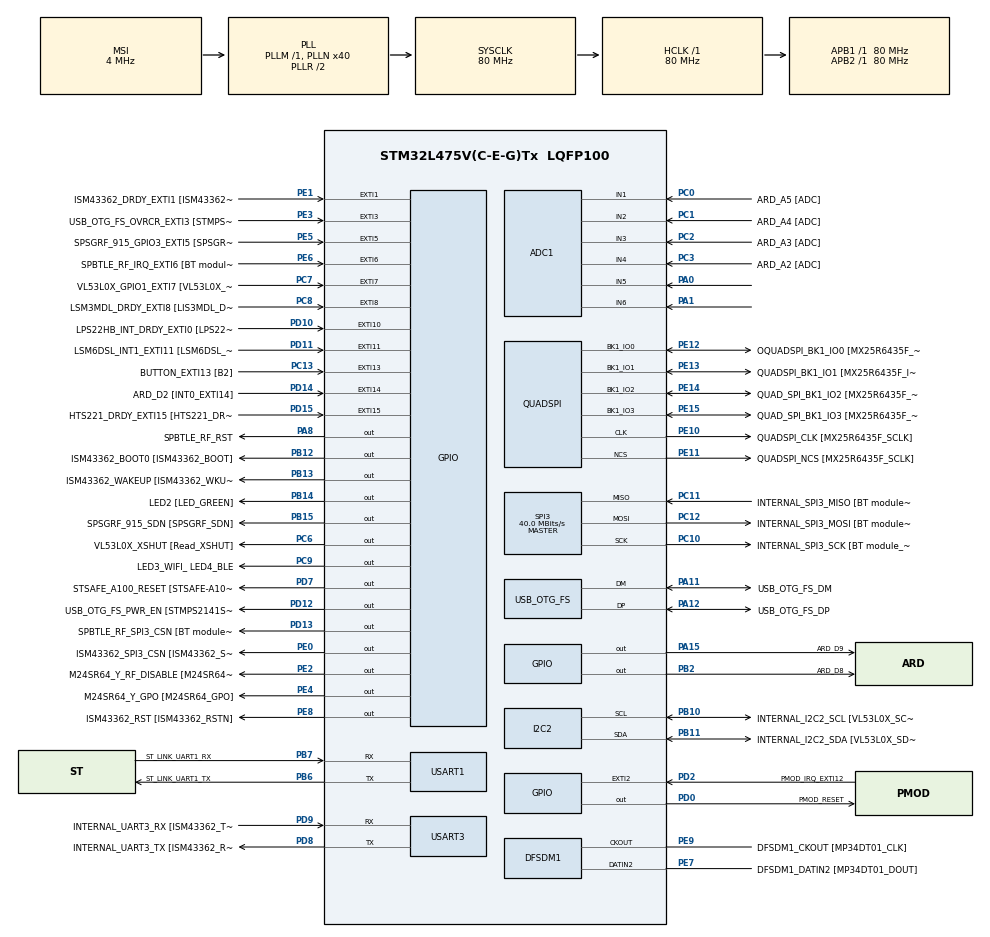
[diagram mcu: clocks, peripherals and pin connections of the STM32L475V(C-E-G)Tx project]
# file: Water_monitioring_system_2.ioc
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ADC1.Channel-0\#ChannelRegularConversion=ADC_CHANNEL_1
ADC1.NbrOfConversionFlag=1
ADC1.OffsetNumber-0\#ChannelRegularConversion=ADC_OFFSET_NONE
ADC1.Rank-0\#ChannelRegularConversion=1
ADC1.SamplingTime-0\#ChannelRegularConversion=ADC_SAMPLETIME_2CYCLES_5
ADC1.SingleDiff-0\#ChannelRegularConversion=ADC_DIFFERENTIAL_ENDED
ADC1.master=1
Dma.Request0=USART1_RX
Dma.Request1=USART1_TX
Dma.USART1_RX.0.Direction=DMA_PERIPH_TO_MEMORY
Dma.USART1_RX.0.Instance=DMA1_Channel5
Dma.USART1_RX.0.MemDataAlignment=DMA_MDATAALIGN_BYTE
Dma.USART1_RX.0.MemInc=DMA_MINC_ENABLE
Dma.USART1_RX.0.Mode=DMA_NORMAL
Dma.USART1_RX.0.PeriphDataAlignment=DMA_PDATAALIGN_BYTE
Dma.USART1_RX.0.PeriphInc=DMA_PINC_DISABLE
Dma.USART1_RX.0.Priority=DMA_PRIORITY_LOW
Dma.USART1_TX.1.Direction=DMA_MEMORY_TO_PERIPH
Dma.USART1_TX.1.Instance=DMA1_Channel4
Dma.USART1_TX.1.MemDataAlignment=DMA_MDATAALIGN_BYTE
Dma.USART1_TX.1.MemInc=DMA_MINC_ENABLE
Dma.USART1_TX.1.Mode=DMA_NORMAL
Dma.USART1_TX.1.PeriphDataAlignment=DMA_PDATAALIGN_BYTE
Dma.USART1_TX.1.PeriphInc=DMA_PINC_DISABLE
Dma.USART1_TX.1.Priority=DMA_PRIORITY_LOW
I2C2.Timing=0x10909CEC
Mcu.Family=STM32L4
Mcu.Name=STM32L475V(C-E-G)Tx
Mcu.Package=LQFP100
NVIC.DMA1_Channel4_IRQn=true\:0\:0\:false\:false\:true\:false\:true\:true
NVIC.DMA1_Channel5_IRQn=true\:0\:0\:false\:false\:true\:false\:true\:true
NVIC.EXTI15_10_IRQn=true\:0\:0\:false\:false\:true\:true\:true\:true
NVIC.EXTI9_5_IRQn=true\:0\:0\:false\:false\:true\:true\:true\:true
NVIC.PriorityGroup=NVIC_PRIORITYGROUP_4
NVIC.USART1_IRQn=true\:0\:0\:false\:false\:true\:true\:true\:true
PA0.Signal=ADCx_IN5
PA1.Signal=ADCx_IN6
PA10.GPIO_Label=USB_OTG_FS_ID
PA10.Signal=USB_OTG_FS_ID
PA11.GPIO_Label=USB_OTG_FS_DM
PA11.Mode=Device_Only
PA11.Signal=USB_OTG_FS_DM
PA12.GPIO_Label=USB_OTG_FS_DP
PA12.Mode=Device_Only
PA12.Signal=USB_OTG_FS_DP
PA13\ (JTMS-SWDIO).GPIO_Label=SYS_JTMS_SWDIO
PA13\ (JTMS-SWDIO).Mode=Serial_Wire
PA13\ (JTMS-SWDIO).Signal=SYS_JTMS-SWDIO
PA14\ (JTCK-SWCLK).GPIO_Label=SYS_JTCK_SWCLK
PA14\ (JTCK-SWCLK).Mode=Serial_Wire
PA14\ (JTCK-SWCLK).Signal=SYS_JTCK-SWCLK
PA15\ (JTDI).GPIO_Label=ARD_D9
PA15\ (JTDI).Signal=GPIO_Output
PA4.GPIO_Label=ARD_D7
PA4.Signal=ADCx_IN9
PA8.GPIO_Label=SPBTLE_RF_RST
PA8.Signal=GPIO_Output
PA9.GPIO_Label=USB_OTG_FS_VBUS [STMPS2141STR_OUT]
PA9.Signal=USB_OTG_FS_VBUS
PB1.GPIO_Label=ARD_D6 [ADC1_IN6]
PB1.Signal=ADCx_IN16
PB10.GPIO_Label=INTERNAL_I2C2_SCL [VL53L0X_SCL]
PB10.GPIO_Pu=GPIO_PULLUP
PB10.Mode=I2C
PB10.Signal=I2C2_SCL
PB11.GPIO_Label=INTERNAL_I2C2_SDA [VL53L0X_SDA]
PB11.GPIO_Pu=GPIO_PULLUP
PB11.Mode=I2C
PB11.Signal=I2C2_SDA
PB12.GPIO_Label=ISM43362_BOOT0 [ISM43362_BOOT]
PB12.Signal=GPIO_Output
PB13.GPIO_Label=ISM43362_WAKEUP [ISM43362_WKUP]
PB13.Signal=GPIO_Output
PB14.GPIO_Label=LED2 [LED_GREEN]
PB14.Signal=GPIO_Output
PB15.GPIO_Label=SPSGRF_915_SDN [SPSGRF_SDN]
PB15.Signal=GPIO_Output
PB2.GPIO_Label=ARD_D8
PB2.Signal=GPIO_Output
PB6.GPIO_Label=ST_LINK_UART1_TX
PB6.Mode=Asynchronous
PB6.Signal=USART1_TX
PB7.GPIO_Label=ST_LINK_UART1_RX
PB7.Mode=Asynchronous
PB7.Signal=USART1_RX
PB8.GPIO_Label=ARD_D15 [I2C1_SCL]
PB8.Signal=I2C1_SCL
PB9.GPIO_Label=ARD_D14 [I2C1_SDA]
PB9.Signal=I2C1_SDA
PC0.GPIO_Label=ARD_A5 [ADC]
PC0.Signal=ADCx_IN1
PC1.GPIO_Label=ARD_A4 [ADC]
PC1.Signal=ADCx_IN2
PC10.GPIO_Label=INTERNAL_SPI3_SCK [BT module_SPI_SCLK] [ISM43362_SCK]
PC10.Mode=Full_Duplex_Master
PC10.Signal=SPI3_SCK
PC11.GPIO_Label=INTERNAL_SPI3_MISO [BT module_SPI_MISO] [ISM43362_MISO]
PC11.Mode=Full_Duplex_Master
PC11.Signal=SPI3_MISO
PC12.GPIO_Label=INTERNAL_SPI3_MOSI [BT module_SPI_MOSI] [ISM43362_MOSI]
PC12.Mode=Full_Duplex_Master
PC12.Signal=SPI3_MOSI
PC13.GPIO_Label=BUTTON_EXTI13 [B2]
PC13.GPIO_ModeDefaultEXTI=GPIO_MODE_IT_FALLING
PC13.Signal=GPXTI13
PC14-OSC32_IN\ (PC14).Mode=LSE-External-Oscillator
PC14-OSC32_IN\ (PC14).Signal=RCC_OSC32_IN
PC15-OSC32_OUT\ (PC15).Mode=LSE-External-Oscillator
PC15-OSC32_OUT\ (PC15).Signal=RCC_OSC32_OUT
PC2.GPIO_Label=ARD_A3 [ADC]
PC2.Signal=ADCx_IN3
PC3.GPIO_Label=ARD_A2 [ADC]
PC3.Signal=ADCx_IN4
PC4.GPIO_Label=ARD_A1 [ADC]
PC4.Signal=ADCx_IN13
PC5.GPIO_Label=ARD_A0 [ADC]
PC5.Signal=ADCx_IN14
PC6.GPIO_Label=VL53L0X_XSHUT [Read_XSHUT]
PC6.Signal=GPIO_Output
PC7.GPIO_Label=VL53L0X_GPIO1_EXTI7 [VL53L0X_GPIO1]
PC7.Signal=GPXTI7
PC8.GPIO_Label=LSM3MDL_DRDY_EXTI8 [LIS3MDL_DRDY]
PC8.Signal=GPXTI8
PC9.GPIO_Label=LED3_WIFI_ LED4_BLE
PC9.Signal=GPIO_Output
PD0.GPIO_Label=PMOD_RESET
PD0.Signal=GPIO_Output
PD1.GPIO_Label=PMOD_SPI2_SCK
PD1.Signal=SPI2_SCK
PD10.GPIO_Label=LPS22HB_INT_DRDY_EXTI0 [LPS22HB_INT_DRDY] 
PD10.Signal=GPXTI10
PD11.GPIO_Label=LSM6DSL_INT1_EXTI11 [LSM6DSL_INT1]
PD11.Signal=GPXTI11
PD12.GPIO_Label=USB_OTG_FS_PWR_EN [STMPS2141STR_EN]
PD12.Signal=GPIO_Output
PD13.GPIO_Label=SPBTLE_RF_SPI3_CSN [BT module_SPI_CS]
PD13.PinState=GPIO_PIN_SET
PD13.Signal=GPIO_Output
PD14.GPIO_Label=ARD_D2 [INT0_EXTI14]
PD14.Signal=GPXTI14
PD15.GPIO_Label=HTS221_DRDY_EXTI15 [HTS221_DRDY]
PD15.Signal=GPXTI15
PD2.GPIO_Label=PMOD_IRQ_EXTI12
PD2.Signal=GPXTI2
PD3.GPIO_Label=PMOD_UART2_CTS
PD3.Signal=USART2_CTS
PD4.GPIO_Label=PMOD_UART2_RTS
PD4.Signal=USART2_RTS
PD5.GPIO_Label=PMOD_UART2_TX
PD5.Signal=USART2_TX
PD6.GPIO_Label=PMOD_UART2_RX
PD6.Signal=USART2_RX
PD7.GPIO_Label=STSAFE_A100_RESET [STSAFE-A100_RESET]
PD7.Signal=GPIO_Output
PD8.GPIO_Label=INTERNAL_UART3_TX [ISM43362_RX]
PD8.Mode=Asynchronous
PD8.Signal=USART3_TX
PD9.GPIO_Label=INTERNAL_UART3_RX [ISM43362_TX]
PD9.Mode=Asynchronous
PD9.Signal=USART3_RX
PE0.GPIO_Label=ISM43362_SPI3_CSN [ISM43362_SSN]
PE0.PinState=GPIO_PIN_SET
PE0.Signal=GPIO_Output
PE1.GPIO_Label=ISM43362_DRDY_EXTI1 [ISM43362_DATARDY]
PE1.Signal=GPXTI1
PE10.GPIO_Label=QUADSPI_CLK [MX25R6435F_SCLK]
PE10.Mode=Single Bank
PE10.Signal=QUADSPI_CLK
PE11.GPIO_Label=QUADSPI_NCS [MX25R6435F_SCLK]
PE11.Mode=Single Bank
PE11.Signal=QUADSPI_NCS
PE12.GPIO_Label=OQUADSPI_BK1_IO0 [MX25R6435F_IO0]
PE12.Mode=Single Bank
PE12.Signal=QUADSPI_BK1_IO0
PE13.GPIO_Label=QUADSPI_BK1_IO1 [MX25R6435F_IO1]
PE13.Mode=Single Bank
PE13.Signal=QUADSPI_BK1_IO1
PE14.GPIO_Label=QUAD_SPI_BK1_IO2 [MX25R6435F_IO2]
PE14.Mode=Single Bank
PE14.Signal=QUADSPI_BK1_IO2
PE15.GPIO_Label=QUAD_SPI_BK1_IO3 [MX25R6435F_IO3]
PE15.Mode=Single Bank
PE15.Signal=QUADSPI_BK1_IO3
PE2.GPIO_Label=M24SR64_Y_RF_DISABLE [M24SR64_RFDIS]
PE2.Signal=GPIO_Output
PE3.GPIO_Label=USB_OTG_FS_OVRCR_EXTI3 [STMPS2141STR_FAULT]
PE3.Signal=GPXTI3
PE4.GPIO_Label=M24SR64_Y_GPO [M24SR64_GPO]
PE4.Signal=GPIO_Output
PE5.GPIO_Label=SPSGRF_915_GPIO3_EXTI5 [SPSGRF_GPIO_3]
PE5.Signal=GPXTI5
PE6.GPIO_Label=SPBTLE_RF_IRQ_EXTI6 [BT module_SPI_IRQ]
PE6.Signal=GPXTI6
PE7.GPIO_Label=DFSDM1_DATIN2 [MP34DT01_DOUT]
PE7.Signal=S_DATAIN2DFSDM1
PE8.GPIO_Label=ISM43362_RST [ISM43362_RSTN]
PE8.Signal=GPIO_Output
PE9.GPIO_Label=DFSDM1_CKOUT [MP34DT01_CLK]
PE9.Signal=S_CKOUTDFSDM1
ProjectManager.HeapSize=0x200
ProjectManager.StackSize=0x400
ProjectManager.TargetToolchain=STM32CubeIDE
QUADSPI.ClockPrescaler=2
QUADSPI.FifoThreshold=4
QUADSPI.FlashSize=23
QUADSPI.SampleShifting=QSPI_SAMPLE_SHIFTING_HALFCYCLE
RCC.ADCFreq_Value=48000000
RCC.AHBFreq_Value=80000000
RCC.APB1Freq_Value=80000000
RCC.APB1TimFreq_Value=80000000
RCC.APB2Freq_Value=80000000
RCC.APB2TimFreq_Value=80000000
RCC.CortexFreq_Value=80000000
RCC.HCLKFreq_Value=80000000
RCC.HSE_VALUE=8000000
RCC.HSI_VALUE=16000000
RCC.MSI_VALUE=4000000
RCC.PLLN=40
RCC.PLLSAI1N=24
RCC.SYSCLKFreq_VALUE=80000000
RCC.SYSCLKSource=RCC_SYSCLKSOURCE_PLLCLK
RCC.USBFreq_Value=48000000
RCC.VCOOutputFreq_Value=160000000
SH.ADCx_IN1.0=ADC1_IN1,IN1-Differential
SH.ADCx_IN13.0=ADC1_IN13
SH.ADCx_IN14.0=ADC1_IN14
SH.ADCx_IN16.0=ADC1_IN16
SH.ADCx_IN2.0=ADC1_IN2,IN1-Differential
SH.ADCx_IN3.0=ADC1_IN3,IN3-Differential
SH.ADCx_IN4.0=ADC1_IN4,IN3-Differential
SH.ADCx_IN5.0=ADC1_IN5,IN5-Differential
SH.ADCx_IN6.0=ADC1_IN6,IN5-Differential
SH.ADCx_IN9.0=ADC1_IN9
SH.S_CKOUTDFSDM1.0=DFSDM1_CKOUT,CKOUT
SH.S_CKOUTDFSDM1.1=DFSDM1_CKOUT,PDM_SPI_Input_from_ch12_and_Internal_Clock
SH.S_DATAIN2DFSDM1.0=DFSDM1_DATIN2,PDM_SPI_Input_from_ch12_and_Internal_Clock
SPI3.CalculateBaudRate=40.0 MBits/s
SPI3.Direction=SPI_DIRECTION_2LINES
SPI3.Mode=SPI_MODE_MASTER
SPI3.VirtualType=VM_MASTER
USART1.VirtualMode-Asynchronous=VM_ASYNC
USART3.VirtualMode-Asynchronous=VM_ASYNC
USB_OTG_FS.VirtualMode=Device_Only
board=B-L475E-IOT01A1

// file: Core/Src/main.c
/* USER CODE BEGIN Header */
/**
 * @Author: Tra Luong
 * Dự án: Hệ thống giám sát chất lượng nước đầu ra sau xử lý của nhà máy nước thải
 * -- 1. Chỉ tiêu cần quan sát: pH, COD, Amoni, Nhiệt độ
 * -- 2. Cảm biến
 * 			+ Cảm biến ADC 4-20 mA: pH, Nhiệt độ
 * 			+ Cảm biến số tích hợp giao thức Modbus RTU: COD, Amoni
 * -- 3. Phần mềm cấp giám sát: Thingspeak
 *
 *
 *
 */

/* USER CODE END Header */
#include "main.h"
#include "modbus.h"
#include "modbus-rtu.h"
#include "modbus-rtu.c"
#include "wifi.c"
#include "es_wifi.h"
#include <math.h>

/* USER CODE BEGIN PTD */

#define RS485_UART_HANDLE huart1

/* USER CODE END PTD */

/* USER CODE BEGIN PD */

#define MODBUS_SLAVE1_ADDRESS 1  // Slave 1 là cảm biến đo COD
#define MODBUS_SLAVE2_ADDRESS 2  // Slave 2 là cảm biến đo Amoni
#define MODBUS_NUM_REGISTERS 2
#define SSID     "TraTo"
#define PASSWORD "00000000"
#define PORT           80
#define THINGSPEAK_API_KEY "UN8T58F3USEKWK8E"
#define SampleTime	300000 //Sample time giả sử là 5 phút.
/* USER CODE END PD */

ADC_HandleTypeDef hadc1;  //ADC1 Channel 1 cho cảm biến pH
ADC_HandleTypeDef hadc2;  //ADC1 Channel 2 cho cảm biến nhiệt độ

DFSDM_Channel_HandleTypeDef hdfsdm1_channel1;

I2C_HandleTypeDef hi2c2;

QSPI_HandleTypeDef hqspi;

SPI_HandleTypeDef hspi3;

UART_HandleTypeDef huart1;
UART_HandleTypeDef huart3;
DMA_HandleTypeDef hdma_usart1_rx;
DMA_HandleTypeDef hdma_usart1_tx;

PCD_HandleTypeDef hpcd_USB_OTG_FS;

/* USER CODE BEGIN PV */

uint16_t modbusData1[MODBUS_NUM_REGISTERS];
uint16_t modbusData2[MODBUS_NUM_REGISTERS];

int pH_ADC_Val;
int temp_ADC_Val;

float pH_Current_Val;
float temp_Voltage_Val;
float temp_Res_Val;
float pH;
float temp;

float data[4];

/* USER CODE END PV */

void SystemClock_Config(void);
void PeriphCommonClock_Config(void);
static void MX_GPIO_Init(void);
static void MX_DMA_Init(void);
static void MX_ADC1_Init(void);
static void MX_DFSDM1_Init(void);
static void MX_I2C2_Init(void);
static void MX_QUADSPI_Init(void);
static void MX_SPI3_Init(void);
static void MX_USART1_UART_Init(void);
static void MX_USART3_UART_Init(void);
static void MX_USB_OTG_FS_PCD_Init(void);

int main(void)
{

  /* MCU Configuration--------------------------------------------------------*/

  /* Reset of all peripherals, Initializes the Flash interface and the Systick. */
  HAL_Init();

  /* Configure the system clock */
  SystemClock_Config();

/* Configure the peripherals common clocks */
  PeriphCommonClock_Config();

  /* Initialize all configured peripherals */
  MX_GPIO_Init();
  MX_DMA_Init();
  MX_ADC1_Init();
  MX_DFSDM1_Init();
  MX_I2C2_Init();
  MX_QUADSPI_Init();
  MX_SPI3_Init();
  MX_USART1_UART_Init();
  MX_USART3_UART_Init();
  MX_USB_OTG_FS_PCD_Init();
  /* USER CODE BEGIN 2 */
  MX_USART1_UART_Init(); // Khởi động UART3

  while(WIFI_Init() !=  WIFI_STATUS_OK)
   {
 	  HAL_Delay(5000); //delay 5s sau đó thử kết nối lại wifi
   };
   while(WIFI_Connect(SSID, PASSWORD, WIFI_ECN_WPA2_PSK) != WIFI_STATUS_OK) {
 	  HAL_Delay(5000); //delay 5s sau đó thử kết nối lại wifi
   }
   WIFI_GetIP_Address(IP_Addr); //Lấy địa chỉ IP
   HAL_Delay(10);
   WIFI_OpenClientConnection(1, WIFI_TCP_PROTOCOL, "", "api.thingspeak.com", PORT, 3000);

  /* USER CODE END 2 */

  /* Infinite loop */
  while (1)
  {

	  HAL_ADC_Start(&hadc1);
	  HAL_ADC_Start(&hadc2);

	  HAL_ADC_PollForConversion(&hadc1, HAL_MAX_DELAY);
	  HAL_ADC_PollForConversion(&hadc2, HAL_MAX_DELAY);

	  pH_ADC_Val = HAL_ADC_GetValue(&hadc1); //ADC1 channel 1 --> Input là cảm biến pH
	  temp_ADC_Val = HAL_ADC_GetValue(&hadc2); //ADC channel 2 --> Input là cảm biến nhiệt độ

	  temp_Voltage_Val = temp_ADC_Val * (5.0 / 4095.0); // Chuyển đổi sang dải điện áp --> ADC12bit
	  //Tính nhiệt độ
	  temp_Res_Val = (5.0 - temp_Voltage_Val) / temp_Voltage_Val * 1000.0; // Chuyển đổi sang giá trị điện trở
	  temp = (temp_Res_Val - 100) / 0.385; //Tính nhiệt độ dựa trên giá trị điện trở
	  //Tính độ pH
	  pH_Current_Val = ((pH_ADC_Val / 4095.0) * 16.0) + 4.0; // 0 - 16 mA --> 4 - 20 mA
	  pH = (pH_Current_Val - 4)/16 * 14; //Chuyển đổi từ dòng sang giá trị pH

	  modbus_t *ctx = modbus_new_rtu(RS485_UART_HANDLE.hdmarx->Instance, 9600, 'N', 8, 1);
	  Modbus_ReadRegisters(ctx, MODBUS_SLAVE1_ADDRESS, modbusData1);
	  Modbus_ReadRegisters(ctx, MODBUS_SLAVE2_ADDRESS, modbusData2);

	  HAL_Delay(500);

	  data[0] = pH;l
	  data[1] = temp;
	  data[2] = modbusData1;
	  data[3] = modbusData2;

	  SendData(4, &data);

	  HAL_Delay(SampleTime);

  }
}

void SystemClock_Config(void)
{
  RCC_OscInitTypeDef RCC_OscInitStruct = {0};
  RCC_ClkInitTypeDef RCC_ClkInitStruct = {0};

  /** Configure the main internal regulator output voltage
  */
  if (HAL_PWREx_ControlVoltageScaling(PWR_REGULATOR_VOLTAGE_SCALE1) != HAL_OK)
  {
    Error_Handler();
  }

  /** Configure LSE Drive Capability
  */
  HAL_PWR_EnableBkUpAccess();
  __HAL_RCC_LSEDRIVE_CONFIG(RCC_LSEDRIVE_LOW);

  /** Initializes the RCC Oscillators according to the specified parameters
  * in the RCC_OscInitTypeDef structure.
  */
  RCC_OscInitStruct.OscillatorType = RCC_OSCILLATORTYPE_LSE|RCC_OSCILLATORTYPE_MSI;
  RCC_OscInitStruct.LSEState = RCC_LSE_ON;
  RCC_OscInitStruct.MSIState = RCC_MSI_ON;
  RCC_OscInitStruct.MSICalibrationValue = 0;
  RCC_OscInitStruct.MSIClockRange = RCC_MSIRANGE_6;
  RCC_OscInitStruct.PLL.PLLState = RCC_PLL_ON;
  RCC_OscInitStruct.PLL.PLLSource = RCC_PLLSOURCE_MSI;
  RCC_OscInitStruct.PLL.PLLM = 1;
  RCC_OscInitStruct.PLL.PLLN = 40;
  RCC_OscInitStruct.PLL.PLLP = RCC_PLLP_DIV7;
  RCC_OscInitStruct.PLL.PLLQ = RCC_PLLQ_DIV2;
  RCC_OscInitStruct.PLL.PLLR = RCC_PLLR_DIV2;
  if (HAL_RCC_OscConfig(&RCC_OscInitStruct) != HAL_OK)
  {
    Error_Handler();
  }

  /** Initializes the CPU, AHB and APB buses clocks
  */
  RCC_ClkInitStruct.ClockType = RCC_CLOCKTYPE_HCLK|RCC_CLOCKTYPE_SYSCLK
                              |RCC_CLOCKTYPE_PCLK1|RCC_CLOCKTYPE_PCLK2;
  RCC_ClkInitStruct.SYSCLKSource = RCC_SYSCLKSOURCE_PLLCLK;
  RCC_ClkInitStruct.AHBCLKDivider = RCC_SYSCLK_DIV1;
  RCC_ClkInitStruct.APB1CLKDivider = RCC_HCLK_DIV1;
  RCC_ClkInitStruct.APB2CLKDivider = RCC_HCLK_DIV1;

  if (HAL_RCC_ClockConfig(&RCC_ClkInitStruct, FLASH_LATENCY_4) != HAL_OK)
  {
    Error_Handler();
  }

  /** Enable MSI Auto calibration
  */
  HAL_RCCEx_EnableMSIPLLMode();
}

void PeriphCommonClock_Config(void)
{
  RCC_PeriphCLKInitTypeDef PeriphClkInit = {0};

  /** Initializes the peripherals clock
  */
  PeriphClkInit.PeriphClockSelection = RCC_PERIPHCLK_USB|RCC_PERIPHCLK_ADC;
  PeriphClkInit.AdcClockSelection = RCC_ADCCLKSOURCE_PLLSAI1;
  PeriphClkInit.UsbClockSelection = RCC_USBCLKSOURCE_PLLSAI1;
  PeriphClkInit.PLLSAI1.PLLSAI1Source = RCC_PLLSOURCE_MSI;
  PeriphClkInit.PLLSAI1.PLLSAI1M = 1;
  PeriphClkInit.PLLSAI1.PLLSAI1N = 24;
  PeriphClkInit.PLLSAI1.PLLSAI1P = RCC_PLLP_DIV7;
  PeriphClkInit.PLLSAI1.PLLSAI1Q = RCC_PLLQ_DIV2;
  PeriphClkInit.PLLSAI1.PLLSAI1R = RCC_PLLR_DIV2;
  PeriphClkInit.PLLSAI1.PLLSAI1ClockOut = RCC_PLLSAI1_48M2CLK|RCC_PLLSAI1_ADC1CLK;
  if (HAL_RCCEx_PeriphCLKConfig(&PeriphClkInit) != HAL_OK)
  {
    Error_Handler();
  }
}

static void MX_ADC1_Init(void)
{

  ADC_MultiModeTypeDef multimode = {0};
  ADC_ChannelConfTypeDef sConfig = {0};

  /** Common config
  */
  hadc1.Instance = ADC1;
  hadc1.Init.ClockPrescaler = ADC_CLOCK_ASYNC_DIV1;
  hadc1.Init.Resolution = ADC_RESOLUTION_12B;
  hadc1.Init.DataAlign = ADC_DATAALIGN_RIGHT;
  hadc1.Init.ScanConvMode = ADC_SCAN_DISABLE;
  hadc1.Init.EOCSelection = ADC_EOC_SINGLE_CONV;
  hadc1.Init.LowPowerAutoWait = DISABLE;
  hadc1.Init.ContinuousConvMode = DISABLE;
  hadc1.Init.NbrOfConversion = 1;
  hadc1.Init.DiscontinuousConvMode = DISABLE;
  hadc1.Init.ExternalTrigConv = ADC_SOFTWARE_START;
  hadc1.Init.ExternalTrigConvEdge = ADC_EXTERNALTRIGCONVEDGE_NONE;
  hadc1.Init.DMAContinuousRequests = DISABLE;
  hadc1.Init.Overrun = ADC_OVR_DATA_PRESERVED;
  hadc1.Init.OversamplingMode = DISABLE;
  if (HAL_ADC_Init(&hadc1) != HAL_OK)
  {
    Error_Handler();
  }

  /** Configure the ADC multi-mode
  */
  multimode.Mode = ADC_MODE_INDEPENDENT;
  if (HAL_ADCEx_MultiModeConfigChannel(&hadc1, &multimode) != HAL_OK)
  {
    Error_Handler();
  }

  /** Configure Regular Channel
  */
  sConfig.Channel = ADC_CHANNEL_1;
  sConfig.Rank = ADC_REGULAR_RANK_1;
  sConfig.SamplingTime = ADC_SAMPLETIME_2CYCLES_5;
  sConfig.SingleDiff = ADC_DIFFERENTIAL_ENDED;
  sConfig.OffsetNumber = ADC_OFFSET_NONE;
  sConfig.Offset = 0;
  if (HAL_ADC_ConfigChannel(&hadc1, &sConfig) != HAL_OK)
  {
    Error_Handler();
  }

}

static void MX_DFSDM1_Init(void)
{

  hdfsdm1_channel1.Instance = DFSDM1_Channel1;
  hdfsdm1_channel1.Init.OutputClock.Activation = ENABLE;
  hdfsdm1_channel1.Init.OutputClock.Selection = DFSDM_CHANNEL_OUTPUT_CLOCK_SYSTEM;
  hdfsdm1_channel1.Init.OutputClock.Divider = 2;
  hdfsdm1_channel1.Init.Input.Multiplexer = DFSDM_CHANNEL_EXTERNAL_INPUTS;
  hdfsdm1_channel1.Init.Input.DataPacking = DFSDM_CHANNEL_STANDARD_MODE;
  hdfsdm1_channel1.Init.Input.Pins = DFSDM_CHANNEL_FOLLOWING_CHANNEL_PINS;
  hdfsdm1_channel1.Init.SerialInterface.Type = DFSDM_CHANNEL_SPI_RISING;
  hdfsdm1_channel1.Init.SerialInterface.SpiClock = DFSDM_CHANNEL_SPI_CLOCK_INTERNAL;
  hdfsdm1_channel1.Init.Awd.FilterOrder = DFSDM_CHANNEL_FASTSINC_ORDER;
  hdfsdm1_channel1.Init.Awd.Oversampling = 1;
  hdfsdm1_channel1.Init.Offset = 0;
  hdfsdm1_channel1.Init.RightBitShift = 0x00;
  if (HAL_DFSDM_ChannelInit(&hdfsdm1_channel1) != HAL_OK)
  {
    Error_Handler();
  }

}

static void MX_I2C2_Init(void)
{

  hi2c2.Instance = I2C2;
  hi2c2.Init.Timing = 0x10909CEC;
  hi2c2.Init.OwnAddress1 = 0;
  hi2c2.Init.AddressingMode = I2C_ADDRESSINGMODE_7BIT;
  hi2c2.Init.DualAddressMode = I2C_DUALADDRESS_DISABLE;
  hi2c2.Init.OwnAddress2 = 0;
  hi2c2.Init.OwnAddress2Masks = I2C_OA2_NOMASK;
  hi2c2.Init.GeneralCallMode = I2C_GENERALCALL_DISABLE;
  hi2c2.Init.NoStretchMode = I2C_NOSTRETCH_DISABLE;
  if (HAL_I2C_Init(&hi2c2) != HAL_OK)
  {
    Error_Handler();
  }

  /** Configure Analogue filter
  */
  if (HAL_I2CEx_ConfigAnalogFilter(&hi2c2, I2C_ANALOGFILTER_ENABLE) != HAL_OK)
  {
    Error_Handler();
  }

  /** Configure Digital filter
  */
  if (HAL_I2CEx_ConfigDigitalFilter(&hi2c2, 0) != HAL_OK)
  {
    Error_Handler();
  }

}

static void MX_QUADSPI_Init(void)
{

  /* QUADSPI parameter configuration*/
  hqspi.Instance = QUADSPI;
  hqspi.Init.ClockPrescaler = 2;
  hqspi.Init.FifoThreshold = 4;
  hqspi.Init.SampleShifting = QSPI_SAMPLE_SHIFTING_HALFCYCLE;
  hqspi.Init.FlashSize = 23;
  hqspi.Init.ChipSelectHighTime = QSPI_CS_HIGH_TIME_1_CYCLE;
  hqspi.Init.ClockMode = QSPI_CLOCK_MODE_0;
  if (HAL_QSPI_Init(&hqspi) != HAL_OK)
  {
    Error_Handler();
  }

}

static void MX_SPI3_Init(void)
{

  /* SPI3 parameter configuration*/
  hspi3.Instance = SPI3;
  hspi3.Init.Mode = SPI_MODE_MASTER;
  hspi3.Init.Direction = SPI_DIRECTION_2LINES;
  hspi3.Init.DataSize = SPI_DATASIZE_4BIT;
  hspi3.Init.CLKPolarity = SPI_POLARITY_LOW;
  hspi3.Init.CLKPhase = SPI_PHASE_1EDGE;
  hspi3.Init.NSS = SPI_NSS_SOFT;
  hspi3.Init.BaudRatePrescaler = SPI_BAUDRATEPRESCALER_2;
  hspi3.Init.FirstBit = SPI_FIRSTBIT_MSB;
  hspi3.Init.TIMode = SPI_TIMODE_DISABLE;
  hspi3.Init.CRCCalculation = SPI_CRCCALCULATION_DISABLE;
  hspi3.Init.CRCPolynomial = 7;
  hspi3.Init.CRCLength = SPI_CRC_LENGTH_DATASIZE;
  hspi3.Init.NSSPMode = SPI_NSS_PULSE_ENABLE;
  if (HAL_SPI_Init(&hspi3) != HAL_OK)
  {
    Error_Handler();
  }

}

static void MX_USART1_UART_Init(void)
{

  huart1.Instance = USART1;
  huart1.Init.BaudRate = 115200;
  huart1.Init.WordLength = UART_WORDLENGTH_8B;
  huart1.Init.StopBits = UART_STOPBITS_1;
  huart1.Init.Parity = UART_PARITY_NONE;
  huart1.Init.Mode = UART_MODE_TX_RX;
  huart1.Init.HwFlowCtl = UART_HWCONTROL_NONE;
  huart1.Init.OverSampling = UART_OVERSAMPLING_16;
  huart1.Init.OneBitSampling = UART_ONE_BIT_SAMPLE_DISABLE;
  huart1.AdvancedInit.AdvFeatureInit = UART_ADVFEATURE_NO_INIT;
  if (HAL_UART_Init(&huart1) != HAL_OK)
  {
    Error_Handler();
  }

}

static void MX_USART3_UART_Init(void)
{

  huart3.Instance = USART3;
  huart3.Init.BaudRate = 115200;
  huart3.Init.WordLength = UART_WORDLENGTH_8B;
  huart3.Init.StopBits = UART_STOPBITS_1;
  huart3.Init.Parity = UART_PARITY_NONE;
  huart3.Init.Mode = UART_MODE_TX_RX;
  huart3.Init.HwFlowCtl = UART_HWCONTROL_NONE;
  huart3.Init.OverSampling = UART_OVERSAMPLING_16;
  huart3.Init.OneBitSampling = UART_ONE_BIT_SAMPLE_DISABLE;
  huart3.AdvancedInit.AdvFeatureInit = UART_ADVFEATURE_NO_INIT;
  if (HAL_UART_Init(&huart3) != HAL_OK)
  {
    Error_Handler();
  }

}

static void MX_USB_OTG_FS_PCD_Init(void)
{

  hpcd_USB_OTG_FS.Instance = USB_OTG_FS;
  hpcd_USB_OTG_FS.Init.dev_endpoints = 6;
  hpcd_USB_OTG_FS.Init.speed = PCD_SPEED_FULL;
  hpcd_USB_OTG_FS.Init.phy_itface = PCD_PHY_EMBEDDED;
  hpcd_USB_OTG_FS.Init.Sof_enable = DISABLE;
  hpcd_USB_OTG_FS.Init.low_power_enable = DISABLE;
  hpcd_USB_OTG_FS.Init.lpm_enable = DISABLE;
  hpcd_USB_OTG_FS.Init.battery_charging_enable = DISABLE;
  hpcd_USB_OTG_FS.Init.use_dedicated_ep1 = DISABLE;
  hpcd_USB_OTG_FS.Init.vbus_sensing_enable = DISABLE;
  if (HAL_PCD_Init(&hpcd_USB_OTG_FS) != HAL_OK)
  {
    Error_Handler();
  }

}

static void MX_DMA_Init(void)
{

  /* DMA controller clock enable */
  __HAL_RCC_DMA1_CLK_ENABLE();

  /* DMA interrupt init */
  /* DMA1_Channel4_IRQn interrupt configuration */
  HAL_NVIC_SetPriority(DMA1_Channel4_IRQn, 0, 0);
  HAL_NVIC_EnableIRQ(DMA1_Channel4_IRQn);
  /* DMA1_Channel5_IRQn interrupt configuration */
  HAL_NVIC_SetPriority(DMA1_Channel5_IRQn, 0, 0);
  HAL_NVIC_EnableIRQ(DMA1_Channel5_IRQn);

}

static void MX_GPIO_Init(void)
{
  GPIO_InitTypeDef GPIO_InitStruct = {0};

  /* GPIO Ports Clock Enable */
  __HAL_RCC_GPIOE_CLK_ENABLE();
  __HAL_RCC_GPIOC_CLK_ENABLE();
  __HAL_RCC_GPIOA_CLK_ENABLE();
  __HAL_RCC_GPIOB_CLK_ENABLE();
  __HAL_RCC_GPIOD_CLK_ENABLE();

  /*Configure GPIO pin Output Level */
  HAL_GPIO_WritePin(GPIOE, M24SR64_Y_RF_DISABLE_Pin|M24SR64_Y_GPO_Pin|ISM43362_RST_Pin, GPIO_PIN_RESET);

  /*Configure GPIO pin Output Level */
  HAL_GPIO_WritePin(GPIOB, ARD_D8_Pin|ISM43362_BOOT0_Pin|ISM43362_WAKEUP_Pin|LED2_Pin
                          |SPSGRF_915_SDN_Pin, GPIO_PIN_RESET);

  /*Configure GPIO pin Output Level */
  HAL_GPIO_WritePin(GPIOD, USB_OTG_FS_PWR_EN_Pin|PMOD_RESET_Pin|STSAFE_A100_RESET_Pin, GPIO_PIN_RESET);

  /*Configure GPIO pin Output Level */
  HAL_GPIO_WritePin(SPBTLE_RF_SPI3_CSN_GPIO_Port, SPBTLE_RF_SPI3_CSN_Pin, GPIO_PIN_SET);

  /*Configure GPIO pin Output Level */
  HAL_GPIO_WritePin(GPIOC, VL53L0X_XSHUT_Pin|LED3_WIFI__LED4_BLE_Pin, GPIO_PIN_RESET);

  /*Configure GPIO pin Output Level */
  HAL_GPIO_WritePin(GPIOA, SPBTLE_RF_RST_Pin|ARD_D9_Pin, GPIO_PIN_RESET);

  /*Configure GPIO pin Output Level */
  HAL_GPIO_WritePin(ISM43362_SPI3_CSN_GPIO_Port, ISM43362_SPI3_CSN_Pin, GPIO_PIN_SET);

  /*Configure GPIO pins : M24SR64_Y_RF_DISABLE_Pin M24SR64_Y_GPO_Pin ISM43362_RST_Pin ISM43362_SPI3_CSN_Pin */
  GPIO_InitStruct.Pin = M24SR64_Y_RF_DISABLE_Pin|M24SR64_Y_GPO_Pin|ISM43362_RST_Pin|ISM43362_SPI3_CSN_Pin;
  GPIO_InitStruct.Mode = GPIO_MODE_OUTPUT_PP;
  GPIO_InitStruct.Pull = GPIO_NOPULL;
  GPIO_InitStruct.Speed = GPIO_SPEED_FREQ_LOW;
  HAL_GPIO_Init(GPIOE, &GPIO_InitStruct);

  /*Configure GPIO pins : USB_OTG_FS_OVRCR_EXTI3_Pin SPSGRF_915_GPIO3_EXTI5_Pin SPBTLE_RF_IRQ_EXTI6_Pin ISM43362_DRDY_EXTI1_Pin */
  GPIO_InitStruct.Pin = USB_OTG_FS_OVRCR_EXTI3_Pin|SPSGRF_915_GPIO3_EXTI5_Pin|SPBTLE_RF_IRQ_EXTI6_Pin|ISM43362_DRDY_EXTI1_Pin;
  GPIO_InitStruct.Mode = GPIO_MODE_IT_RISING;
  GPIO_InitStruct.Pull = GPIO_NOPULL;
  HAL_GPIO_Init(GPIOE, &GPIO_InitStruct);

  /*Configure GPIO pin : BUTTON_EXTI13_Pin */
  GPIO_InitStruct.Pin = BUTTON_EXTI13_Pin;
  GPIO_InitStruct.Mode = GPIO_MODE_IT_FALLING;
  GPIO_InitStruct.Pull = GPIO_NOPULL;
  HAL_GPIO_Init(BUTTON_EXTI13_GPIO_Port, &GPIO_InitStruct);

  /*Configure GPIO pins : ARD_D8_Pin ISM43362_BOOT0_Pin ISM43362_WAKEUP_Pin LED2_Pin
                           SPSGRF_915_SDN_Pin */
  GPIO_InitStruct.Pin = ARD_D8_Pin|ISM43362_BOOT0_Pin|ISM43362_WAKEUP_Pin|LED2_Pin
                          |SPSGRF_915_SDN_Pin;
  GPIO_InitStruct.Mode = GPIO_MODE_OUTPUT_PP;
  GPIO_InitStruct.Pull = GPIO_NOPULL;
  GPIO_InitStruct.Speed = GPIO_SPEED_FREQ_LOW;
  HAL_GPIO_Init(GPIOB, &GPIO_InitStruct);

  /*Configure GPIO pins : LPS22HB_INT_DRDY_EXTI0_Pin LSM6DSL_INT1_EXTI11_Pin ARD_D2_Pin HTS221_DRDY_EXTI15_Pin
                           PMOD_IRQ_EXTI12_Pin */
  GPIO_InitStruct.Pin = LPS22HB_INT_DRDY_EXTI0_Pin|LSM6DSL_INT1_EXTI11_Pin|ARD_D2_Pin|HTS221_DRDY_EXTI15_Pin
                          |PMOD_IRQ_EXTI12_Pin;
  GPIO_InitStruct.Mode = GPIO_MODE_IT_RISING;
  GPIO_InitStruct.Pull = GPIO_NOPULL;
  HAL_GPIO_Init(GPIOD, &GPIO_InitStruct);

  /*Configure GPIO pins : USB_OTG_FS_PWR_EN_Pin SPBTLE_RF_SPI3_CSN_Pin PMOD_RESET_Pin STSAFE_A100_RESET_Pin */
  GPIO_InitStruct.Pin = USB_OTG_FS_PWR_EN_Pin|SPBTLE_RF_SPI3_CSN_Pin|PMOD_RESET_Pin|STSAFE_A100_RESET_Pin;
  GPIO_InitStruct.Mode = GPIO_MODE_OUTPUT_PP;
  GPIO_InitStruct.Pull = GPIO_NOPULL;
  GPIO_InitStruct.Speed = GPIO_SPEED_FREQ_LOW;
  HAL_GPIO_Init(GPIOD, &GPIO_InitStruct);

  /*Configure GPIO pins : VL53L0X_XSHUT_Pin LED3_WIFI__LED4_BLE_Pin */
  GPIO_InitStruct.Pin = VL53L0X_XSHUT_Pin|LED3_WIFI__LED4_BLE_Pin;
  GPIO_InitStruct.Mode = GPIO_MODE_OUTPUT_PP;
  GPIO_InitStruct.Pull = GPIO_NOPULL;
  GPIO_InitStruct.Speed = GPIO_SPEED_FREQ_LOW;
  HAL_GPIO_Init(GPIOC, &GPIO_InitStruct);

  /*Configure GPIO pins : VL53L0X_GPIO1_EXTI7_Pin LSM3MDL_DRDY_EXTI8_Pin */
  GPIO_InitStruct.Pin = VL53L0X_GPIO1_EXTI7_Pin|LSM3MDL_DRDY_EXTI8_Pin;
  GPIO_InitStruct.Mode = GPIO_MODE_IT_RISING;
  GPIO_InitStruct.Pull = GPIO_NOPULL;
  HAL_GPIO_Init(GPIOC, &GPIO_InitStruct);

  /*Configure GPIO pins : SPBTLE_RF_RST_Pin ARD_D9_Pin */
  GPIO_InitStruct.Pin = SPBTLE_RF_RST_Pin|ARD_D9_Pin;
  GPIO_InitStruct.Mode = GPIO_MODE_OUTPUT_PP;
  GPIO_InitStruct.Pull = GPIO_NOPULL;
  GPIO_InitStruct.Speed = GPIO_SPEED_FREQ_LOW;
  HAL_GPIO_Init(GPIOA, &GPIO_InitStruct);

  /*Configure GPIO pin : PMOD_SPI2_SCK_Pin */
  GPIO_InitStruct.Pin = PMOD_SPI2_SCK_Pin;
  GPIO_InitStruct.Mode = GPIO_MODE_AF_PP;
  GPIO_InitStruct.Pull = GPIO_NOPULL;
  GPIO_InitStruct.Speed = GPIO_SPEED_FREQ_VERY_HIGH;
  GPIO_InitStruct.Alternate = GPIO_AF5_SPI2;
  HAL_GPIO_Init(PMOD_SPI2_SCK_GPIO_Port, &GPIO_InitStruct);

  /*Configure GPIO pins : PMOD_UART2_CTS_Pin PMOD_UART2_RTS_Pin PMOD_UART2_TX_Pin PMOD_UART2_RX_Pin */
  GPIO_InitStruct.Pin = PMOD_UART2_CTS_Pin|PMOD_UART2_RTS_Pin|PMOD_UART2_TX_Pin|PMOD_UART2_RX_Pin;
  GPIO_InitStruct.Mode = GPIO_MODE_AF_PP;
  GPIO_InitStruct.Pull = GPIO_NOPULL;
  GPIO_InitStruct.Speed = GPIO_SPEED_FREQ_VERY_HIGH;
  GPIO_InitStruct.Alternate = GPIO_AF7_USART2;
  HAL_GPIO_Init(GPIOD, &GPIO_InitStruct);

  /*Configure GPIO pins : ARD_D15_Pin ARD_D14_Pin */
  GPIO_InitStruct.Pin = ARD_D15_Pin|ARD_D14_Pin;
  GPIO_InitStruct.Mode = GPIO_MODE_AF_OD;
  GPIO_InitStruct.Pull = GPIO_NOPULL;
  GPIO_InitStruct.Speed = GPIO_SPEED_FREQ_VERY_HIGH;
  GPIO_InitStruct.Alternate = GPIO_AF4_I2C1;
  HAL_GPIO_Init(GPIOB, &GPIO_InitStruct);

  /* EXTI interrupt init*/
  HAL_NVIC_SetPriority(EXTI9_5_IRQn, 0, 0);
  HAL_NVIC_EnableIRQ(EXTI9_5_IRQn);

  HAL_NVIC_SetPriority(EXTI15_10_IRQn, 0, 0);
  HAL_NVIC_EnableIRQ(EXTI15_10_IRQn);

}

/* USER CODE BEGIN 4 */

void Modbus_ReadRegisters(modbus_t *ctx, uint8_t slaveAddress, uint16_t *dataBuffer) {
    modbus_set_slave(ctx, slaveAddress);

    if (modbus_connect(ctx) == -1) {
        // Xử lý lỗi kết nối
    }

    // Đọc giá trị từ Slave
    if (modbus_read_registers(ctx, 0, MODBUS_NUM_REGISTERS, dataBuffer) == MODBUS_NUM_REGISTERS) {
        // Dữ liệu được đọc từ Slave sẽ được lưu trong mảng dataBuffer
        // Xử lý dữ liệu tại đây
    } else {
        // Xử lý lỗi đọc dữ liệu
    }

    modbus_close(ctx);
}

void SendData(uint8_t numberOfField, uint16_t *value) {
	uint16_t SentDataLength;
	char field_buff[200] = {0};

	strcpy(http,"GET /update?api_key=");
	strcat(http, THINGSPEAK_API_KEY);

	for (int i = 0; i < numberOfField; i++) {

		sprintf(field_buff, "&field%d=%u",i+1, value[i]);
		strcat(http, field_buff);
	}
	WIFI_SendData(0, (uint8_t *)http, strlen((char *)http), &SentDataLength);

	/* Ở đây dùng hàm strcpy và hàm strcat để gộp và nối các chuỗi tạo thành 1 dạng chuẩn của HTTP request
	 * giống như trong api mẫu của thingspeak. Giả sử numberOfField = 3 và value = {5, 10, 15}. Ta có chuỗi http sau cùng:
	 * 	--> GET /update?api_key=ZPLGUXRC93AJK66Y&field1=5&field2=10&field3=15
	 * 	Không cần api.thingspeak.com vì đã kết nối ở trên rồi.
	 *
	 *
	 */
}

/* USER CODE END 4 */

void Error_Handler(void)
{
  __disable_irq();
  while (1)
  {
  }
}
